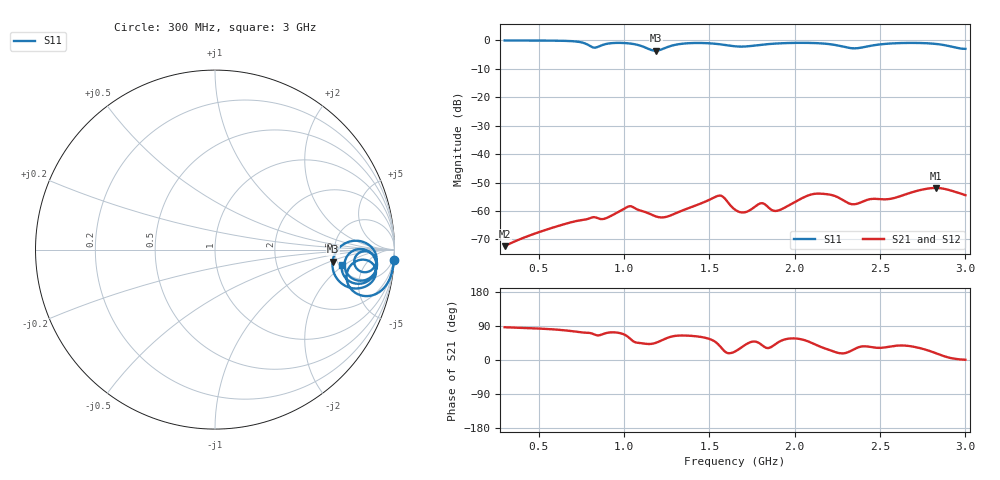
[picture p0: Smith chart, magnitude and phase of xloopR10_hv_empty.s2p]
! xloopR10_hv_empty, gap C 0.80 pF
! simulated by sim/fixtures_fdtd.py (S12 = S21, S22 not computed)
# HZ S RI R 50
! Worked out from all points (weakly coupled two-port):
!   541 points, 300 MHz to 3 GHz, reference 50 ohm
!   highest |S21| = -51.91 dB at 2.825 GHz (marker M1); lowest = -72.4 dB at 300 MHz (marker M2)
!   lowest |S11| = -3.6 dB at 1.185 GHz (marker M3), VSWR 4.86, Z = 229 - j54.7 ohm
!   |S11| at or under -10 dB: nowhere
!   |S22| runs from - to - dB; largest |S21 - S12| = 0
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3e8  0.9972 -0.0596  1.5e-05 0.000239  1.5e-05 0.000239  0 0
7.5e8  0.8909 -0.2497  0.000204 0.000657  0.000204 0.000657  0 0
8.2e8  0.7331 -0.1633  0.000287 0.000721  0.000287 0.000721  0 0
8.7e8  0.8218 -0.056  0.000276 0.000662  0.000276 0.000662  0 0
1.035e9  0.8613 -0.1917  0.00067 0.00101  0.00067 0.00101  0 0
1.12e9  0.7323 -0.205  0.000704 0.00066  0.000704 0.00066  0 0
1.185e9  0.655 -0.0676  0.000566 0.000568  0.000566 0.000568  0 0
1.2e9  0.6661 -0.0278  0.000525 0.000576  0.000525 0.000576  0 0
1.26e9  0.7743 0.0491  0.000411 0.000694  0.000411 0.000694  0 0
1.355e9  0.8834 -0.000372  0.000453 0.000953  0.000453 0.000953  0 0
1.555e9  0.8516 -0.1239  0.00142 0.00119  0.00142 0.00119  0 0
1.65e9  0.7825 -0.0952  0.000974 0.000401  0.000974 0.000401  0 0
1.71e9  0.781 -0.0428  0.000727 0.000611  0.000727 0.000611  0 0
1.805e9  0.839 -0.00877  0.00104 0.000887  0.00104 0.000887  0 0
1.9e9  0.8845 -0.0317  0.000702 0.000726  0.000702 0.000726  0 0
2.1e9  0.8941 -0.1209  0.00138 0.00138  0.00138 0.00138  0 0
2.215e9  0.8346 -0.1705  0.00174 0.000787  0.00174 0.000787  0 0
2.34e9  0.7218 -0.0897  0.00117 0.000587  0.00117 0.000587  0 0
2.43e9  0.7889 0.000972  0.00129 0.000917  0.00129 0.000917  0 0
2.55e9  0.878 -0.029  0.00133 0.000922  0.00133 0.000922  0 0
2.825e9  0.8511 -0.1761  0.00241 0.000795  0.00241 0.000795  0 0
3e9  0.7056 -0.0861  0.00189 2.49e-05  0.00189 2.49e-05  0 0
